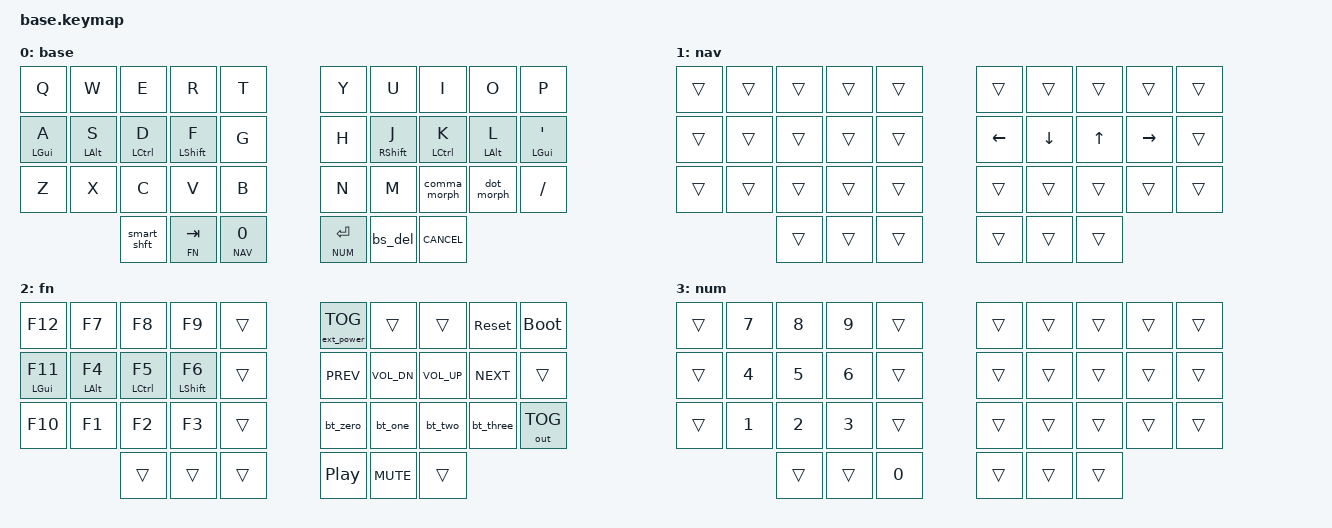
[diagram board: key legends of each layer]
#include <behaviors.dtsi>
#include <behaviors/num_word.dtsi> // requires auto-layer module
#include <behaviors/unicode.dtsi> // Requires zmk-unicode module.

#include <dt-bindings/zmk/keys.h>
#include <dt-bindings/zmk/ext_power.h>
#include <dt-bindings/zmk/bt.h>
#include <dt-bindings/zmk/outputs.h>

#include "zmk-helpers/helper.h"
#include "zmk-helpers/unicode-chars/german.dtsi"

#define DEF 0
#define NAV 1
#define FN 2
#define NUM 3

#include "combos.dtsi"  // requires layer aliases

#define XXX &none
#define ___ &trans

/* Global settings */

#define QUICK_TAP_MS 175

&sk {
  release-after-ms = <900>;
  quick-release;
};

&sl { // Allow sticky mods to chord across sticky layers.
  ignore-modifiers;
};

&lt {
  flavor = "balanced";
  tapping-term-ms = <200>;
  quick-tap-ms = <QUICK_TAP_MS>;
};

/* Homerow mods */

#define KEYS_L LT0 LT1 LT2 LT3 LT4 LM0 LM1 LM2 LM3 LM4 LB0 LB1 LB2 LB3 LB4
#define KEYS_R RT0 RT1 RT2 RT3 RT4 RM0 RM1 RM2 RM3 RM4 RB0 RB1 RB2 RB3 RB4
#ifndef LH2
  #define THUMBS LH1 LH0 RH0 RH1         // Thumbs on 34 keys.
#else
  #define THUMBS LH2 LH1 LH0 RH0 RH1 RH2 // Thumbs on 36+ keys.
#endif

#define MAKE_HRM(NAME, HOLD, TAP, TRIGGER_POS) \
    ZMK_HOLD_TAP(NAME, \
        flavor = "balanced"; \
        tapping-term-ms = <280>; \
        quick-tap-ms = <QUICK_TAP_MS>; \
        require-prior-idle-ms = <150>; \
        bindings = <HOLD>, <TAP>; \
        hold-trigger-key-positions = <TRIGGER_POS>; \
        hold-trigger-on-release; \
    )
MAKE_HRM(hml, &kp, &kp, KEYS_R THUMBS)  // left-hand HRMs
MAKE_HRM(hmr, &kp, &kp, KEYS_L THUMBS)  // right-hand HRMs

// tap: sticky-shift | shift + tap/ double-tap: caps-word | hold: shift
ZMK_MOD_MORPH(smart_shft,
    bindings = <&sk LSHFT>, <&caps_word>;
    mods = <(MOD_RSFT)>;
)
&caps_word {  // mods deactivate caps-word, requires PR #1451
    /delete-property/ ignore-modifiers;
};

// tap: num-word | double-tap: sticky num-layer | hold: num-layer
#define SMART_NUM &smart_num NUM 0
ZMK_HOLD_TAP(smart_num,
    flavor = "balanced";
    tapping-term-ms = <200>;
    quick-tap-ms = <QUICK_TAP_MS>;
    bindings = <&mo>, <&num_dance>;
)
ZMK_TAP_DANCE(num_dance,
    tapping-term-ms = <200>;
    bindings = <&num_word NUM>, <&sl NUM>;  // reverse this for sticky-num on single tap
)

/* Custom behaviors */

#define SIMPLE_MORPH(NAME, MOD, BINDING1, BINDING2) \
    ZMK_MOD_MORPH(NAME, \
        mods = <(MOD_L ## MOD|MOD_R ## MOD)>; \
        bindings = <BINDING1>, <BINDING2>; \
    )

// tap: comma | shift + tap: semicolon
SIMPLE_MORPH(comma_morph, SFT, &kp COMMA, &kp SEMI)

// tap: dot | shift + tap: colon
SIMPLE_MORPH(dot_morph, SFT, &kp DOT, &kp COLON)

// tap: qmark | shift + tap: excl
SIMPLE_MORPH(qexcl, SFT, &kp QMARK, &kp EXCL)

// tap: space | shift + tap: dot -> space -> sticky shift | hold: activate layer
ZMK_HOLD_TAP(lt_spc,
    flavor = "balanced";
    tapping-term-ms = <200>;
    quick-tap-ms = <QUICK_TAP_MS>;
    bindings = <&mo>, <&spc_morph>;
)
SIMPLE_MORPH(spc_morph, SFT, &kp SPACE, &dot_spc)
ZMK_MACRO(dot_spc,
    wait-ms = <0>;
    tap-ms = <5>;
    bindings = <&kp DOT &kp SPACE &sk LSHFT>;
)

// tap: backspace | lshft + tap: delete | rshft + tap: shift-delete
ZMK_MOD_MORPH(bs_del,
    bindings = <&kp BSPC>, <&kp DEL>;
    mods = <(MOD_LSFT|MOD_RSFT)>;
    keep-mods = <MOD_RSFT>;
)

// tap: bt select | lshft + tap: bt clear
SIMPLE_MORPH(bt_zero, SFT, &bt BT_SEL 0, &bt BT_CLR)
SIMPLE_MORPH(bt_one, SFT, &bt BT_SEL 1, &bt BT_CLR)
SIMPLE_MORPH(bt_two, SFT, &bt BT_SEL 2, &bt BT_CLR)
SIMPLE_MORPH(bt_three, SFT, &bt BT_SEL 3, &bt BT_CLR)

#define CANCEL &kp K_CANCEL // cancel caps-word, num-word and smart-mouse

/* Keymap */

ZMK_LAYER(base,
  &kp Q         &kp W         &kp E         &kp R         &kp T                   &kp Y         &kp U         &kp I         &kp O         &kp P
  &hml LGUI A   &hml LALT S   &hml LCTRL D  &hml LSHFT F  &kp G                   &kp H         &hmr RSHFT J  &hmr LCTRL K  &hmr LALT L   &hmr LGUI SQT
  &kp Z         &kp X         &kp C         &kp V         &kp B                   &kp N         &kp M         &comma_morph  &dot_morph    &kp SLASH
                              &smart_shft   &lt FN TAB    &lt_spc NAV 0           &lt NUM RET   &bs_del       CANCEL
)

ZMK_LAYER(nav,
  ___           ___           ___           ___           ___                     ___           ___           ___           ___           ___
  ___           ___           ___           ___           ___                     &kp LEFT      &kp DOWN      &kp UP        &kp RIGHT     ___
  ___           ___           ___           ___           ___                     ___           ___           ___           ___           ___
                              ___           ___           ___                     ___           ___           ___
)

ZMK_LAYER(fn,
  &kp F12       &kp F7        &kp F8        &kp F9        ___                     &ext_power EP_TOG   ___            ___           &sys_reset    &bootloader
  &hml LGUI F11 &hml LALT F4  &hml LCTRL F5 &hml LSHFT F6 ___                     &kp C_PREV          &kp C_VOL_DN   &kp C_VOL_UP  &kp C_NEXT    ___
  &kp F10       &kp F1        &kp F2        &kp F3        ___                     &bt_zero            &bt_one        &bt_two       &bt_three     &out OUT_TOG
                              ___           ___           ___                     &kp C_PP            &kp C_MUTE     ___
)

ZMK_LAYER(num,
  ___           &kp N7        &kp N8        &kp N9        ___                  ___           ___           ___           ___           ___
  ___           &kp N4        &kp N5        &kp N6        ___                  ___           ___           ___           ___           ___
  ___           &kp N1        &kp N2        &kp N3        ___                  ___           ___           ___           ___           ___
                              ___           ___           &kp N0               ___           ___           ___
)

/* vim: set ft=c tw=174: */
